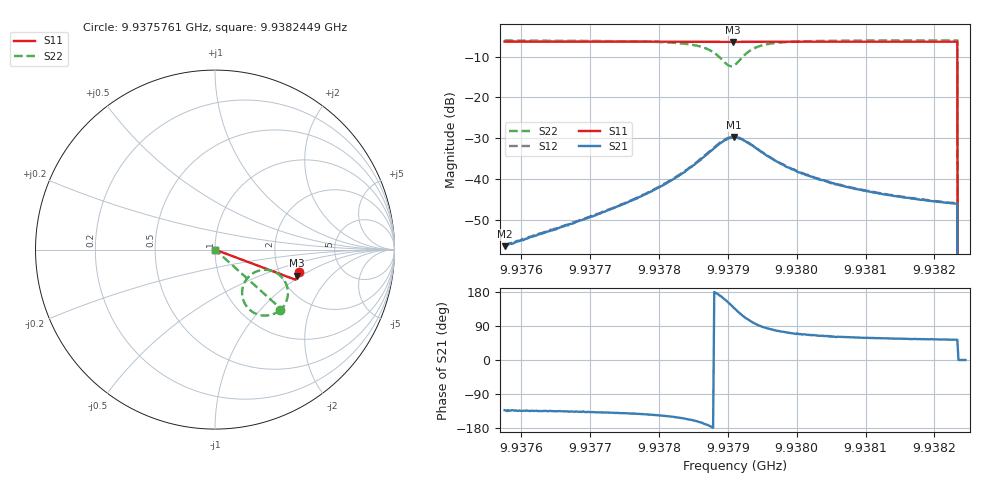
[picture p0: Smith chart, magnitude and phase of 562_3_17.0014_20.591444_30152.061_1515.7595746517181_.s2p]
#  HZ  S  RI  R  50.00
! Rohde & Schwarz Vector Network Analyzer
! Rohde-Schwarz,ZNB20-2Port,1311601062101988,3.16
! Created: UTC 3/20/2024, 11:17:16 PM
! freq[Hz]  re:S11  im:S11  re:S21  im:S21  re:S12  im:S12  re:S22  im:S22
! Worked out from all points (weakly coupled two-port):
!   401 points, 9.9375761 GHz to 9.9382449 GHz, reference 50 ohm
!   highest |S21| = -29.84 dB at 9.9379088 GHz (marker M1); lowest = -56.5 dB at 9.9375761 GHz (marker M2)
!   lowest |S11| = -6.4 dB at 9.9379072 GHz (marker M3), VSWR 2.83, Z = 121 - j45.8 ohm
!   |S11| at or under -10 dB: 9.9382333 GHz to end of sweep
!   |S22| runs from - to -6.1 dB; largest |S21 - S12| = 0.0013
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9.93757611e9  0.4655 -0.1264  -0.00101 -0.0011  -0.00105 -0.00108  0.3644 -0.3361
9.93768814e9  0.4627 -0.134  -0.00228 -0.00212  -0.00231 -0.00215  0.3476 -0.3479
9.93774666e9  0.4614 -0.138  -0.00369 -0.00308  -0.00382 -0.00309  0.3321 -0.3563
9.93780016e9  0.4597 -0.1417  -0.00652 -0.00439  -0.00672 -0.00435  0.3053 -0.365
9.93783528e9  0.4585 -0.1441  -0.0107 -0.00521  -0.0109 -0.00514  0.2694 -0.3678
9.93786872e9  0.4565 -0.1464  -0.0193 -0.00345  -0.0198 -0.00316  0.2012 -0.3417
9.93788042e9  0.4555 -0.1468  -0.0238 0.000145  -0.0243 0.000825  0.1699 -0.3066
9.93789213e9  0.4546 -0.1468  -0.0276 0.00728  -0.0281 0.00844  0.151 -0.2442
9.93790049e9  0.4542 -0.1465  -0.0275 0.0147  -0.0276 0.0158  0.1628 -0.1866
9.93790717e9  0.4543 -0.1461  -0.0249 0.0202  -0.0246 0.0215  0.1935 -0.1454
9.93790885e9  0.4543 -0.1461  -0.0237 0.0218  -0.0234 0.0228  0.2035 -0.1371
9.93791052e9  0.4543 -0.146  -0.0226 0.0226  -0.0224 0.0239  0.2145 -0.1301
9.93791888e9  0.4547 -0.1459  -0.0159 0.0265  -0.0152 0.0272  0.2728 -0.1129
9.93793058e9  0.4557 -0.1465  -0.00734 0.0263  -0.0063 0.0268  0.3409 -0.1287
9.9379473e9  0.4563 -0.148  0.000112 0.0218  0.000731 0.0219  0.3889 -0.176
9.93798576e9  0.456 -0.1513  0.00413 0.0133  0.00451 0.0135  0.4062 -0.249
9.93802255e9  0.455 -0.154  0.00444 0.00959  0.00454 0.00957  0.4001 -0.2813
9.93807438e9  0.4537 -0.1579  0.00392 0.00684  0.00413 0.00689  0.3902 -0.3039
9.93813457e9  0.452 -0.1619  0.00348 0.00528  0.00356 0.00526  0.3811 -0.3183
9.93822988e9  0.4496 -0.1681  0.00296 0.004  0.00308 0.00401  0.3704 -0.332
9.93823824e9  0 0  0 0  0 0  0 0
9.93824493e9  0 0  0 0  0 0  0 0
